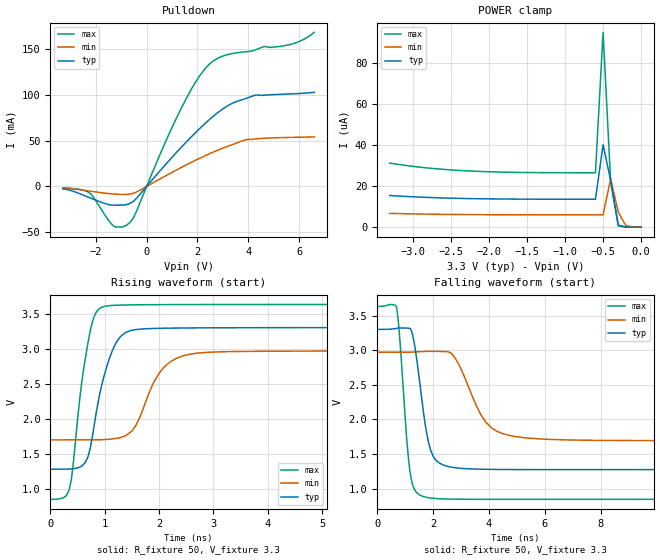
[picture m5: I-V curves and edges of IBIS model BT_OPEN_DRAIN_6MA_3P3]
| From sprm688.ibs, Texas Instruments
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|BT_WEAK_PU_ON_3P3
|   Model Cell BT_OPEN_DRAIN_6MA_3P3
|BT_OPEN_DRAIN_6MA_3P3
[Model]   BT_OPEN_DRAIN_6MA_3P3
Model_type   I/O_open_drain
Polarity   Inverting
Enable   Active-Low
Vinl =  0.8
Vinh =  2
Cref =  15.0000pF
Rref =  100.0000M
Vref =  0V
Vmeas =  1.65
C_comp   3.98845p   2.03906p   4.55356p
[Model Spec]
Vinl   0.8   0.8   0.8
Vinh   2   2   2
[Temperature Range]   25   155   -40
[Voltage Range]   3.3   2.97   3.63
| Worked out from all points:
|   slope of the pulldown table from 0 to 0.495 V, typ, clamps not added: 30.9 ohm
|   rising waveform, R_fixture 50, V_fixture 3.3: 20-80 % time 345ps typ, 467ps min, 263ps max; typ from 1.28 V to 3.3 V
|   falling waveform, R_fixture 50, V_fixture 3.3: 20-80 % time 422ps typ, 899ps min, 301ps max; typ from 3.3 V to 1.28 V
| Nom Voltages:
|   BIASFET=3.3, VDD=1.2, VDDS=3.3, VSS=0
| Min Voltages:
|   BIASFET=2.97, VDD=1.08, VDDS=2.97, VSS=0
| Max Voltages:
|   BIASFET=3.63, VDD=1.32, VDDS=3.63, VSS=0
[POWER_clamp]
|   voltage   I(typ)   I(min)   I(max)
-3.3V     15.41uA    6.707uA    31.17uA
-2.8V     14.47uA    6.332uA    28.78uA
-2.2V     13.87uA    6.102uA    27.25uA
-1.6V     13.64uA    6.016uA    26.64uA
-600mV    13.58uA    5.99uA     26.46uA
-500mV    40.13uA    5.991uA    94.82uA
-400mV    22.54uA    23.52uA    21.76uA
-300mV    969.1nA    7.215uA    616.4nA
-200mV    29.93nA    661.1nA    11.88nA
0V        1.388nA    48.32nA    1.243nA
[Pulldown]
|   voltage   I(typ)   I(min)   I(max)
-3.3V     -2.737mA   -1.873mA   -1.718mA
-2.3V     -11.76mA   -4.954mA   -6.193mA
-1.3V     -20.63mA   -8.362mA   -43.49mA
-800mV    -19.88mA   -8.768mA   -42.58mA
-500mV    -15.9mA    -7.318mA   -33.21mA
1.4V      43.88mA    21.19mA    87.52mA
1.9V      58.17mA    28.19mA    112.9mA
2.4V      71.33mA    34.76mA    131.7mA
3V        84.76mA    41.87mA    142.6mA
4.3V      99.91mA    51.98mA    149.5mA
5.8V      101.3mA    53.65mA    156.4mA
6.6V      102.9mA    54.17mA    168.5mA
[Ramp]
| variable   typ   min   max
dV/dt_f  1.2265162/0.42596978n 0.77333606/0.9075597n  1.6862307/0.30383977n
dV/dt_r  1.1726677/0.72864722n 0.73282855/1.5166001n  1.5979937/0.48603734n
R_load = 50
[Rising Waveform]
R_fixture = 50
V_fixture = 3.3
V_fixture_min = 2.97
V_fixture_max = 3.63
|   time   V(typ)   V(min)   V(max)
0s        1.279V     1.698V     849.6mV
345.1ps   1.281V     1.698V     978.7mV
635.1ps   1.364V     1.698V     2.818V
807ps     1.906V     1.698V     3.458V
1.046ns   2.76V      1.705V     3.61V
1.258ns   3.141V     1.726V     3.621V
1.47ns    3.256V     1.806V     3.624V
2.083ns   3.291V     2.727V     3.629V
2.855ns   3.297V     2.946V     3.63V
20.09ns   3.3V       2.97V      3.63V
[Falling Waveform]
R_fixture = 50
V_fixture = 3.3
V_fixture_min = 2.97
V_fixture_max = 3.63
|   time   V(typ)   V(min)   V(max)
0s        3.3V       2.97V      3.63V
685.1ps   3.313V     2.97V      3.627V
1.166ns   3.314V     2.971V     1.274V
1.615ns   2.234V     2.98V      893.3mV
1.83ns    1.68V      2.984V     872mV
2.187ns   1.383V     2.982V     857.8mV
2.8ns     1.303V     2.878V     850.5mV
3.881ns   1.281V     1.963V     848.6mV
4.946ns   1.278V     1.754V     848.5mV
20.09ns   1.279V     1.697V     849mV
